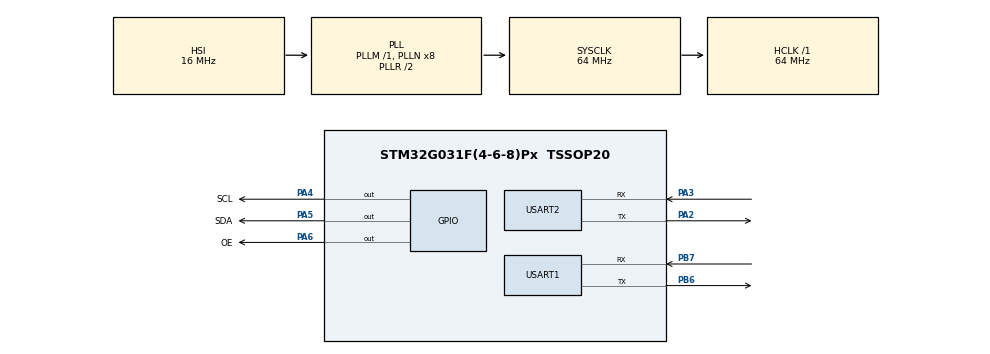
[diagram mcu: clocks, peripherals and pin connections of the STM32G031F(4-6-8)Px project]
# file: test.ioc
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Mcu.Family=STM32G0
Mcu.Name=STM32G031F(4-6-8)Px
Mcu.Package=TSSOP20
PA13.Mode=Serial_Wire
PA13.Signal=SYS_SWDIO
PA14-BOOT0.Mode=Serial_Wire
PA14-BOOT0.Signal=SYS_SWCLK
PA14-BOOT0__PA15.StandardMode=true
PA2.Mode=Asynchronous
PA2.Signal=USART2_TX
PA3.Mode=Asynchronous
PA3.Signal=USART2_RX
PA4.GPIO_Label=SCL
PA4.GPIO_ModeDefaultOutputPP=GPIO_MODE_OUTPUT_OD
PA4.GPIO_PuPd=GPIO_NOPULL
PA4.GPIO_Speed=GPIO_SPEED_FREQ_VERY_HIGH
PA4.PinState=GPIO_PIN_SET
PA4.Signal=GPIO_Output
PA5.GPIO_Label=SDA
PA5.GPIO_ModeDefaultOutputPP=GPIO_MODE_OUTPUT_OD
PA5.GPIO_PuPd=GPIO_NOPULL
PA5.GPIO_Speed=GPIO_SPEED_FREQ_VERY_HIGH
PA5.PinState=GPIO_PIN_SET
PA5.Signal=GPIO_Output
PA6.GPIO_Label=OE
PA6.GPIO_ModeDefaultOutputPP=GPIO_MODE_OUTPUT_OD
PA6.GPIO_PuPd=GPIO_NOPULL
PA6.Signal=GPIO_Output
PB0__PB1__PB2__PA8.StandardMode=true
PB3__PB4__PB5__PB6.StandardMode=true
PB6.Mode=Asynchronous
PB6.Signal=USART1_TX
PB7.Mode=Asynchronous
PB7.Signal=USART1_RX
PB7__PB8.StandardMode=true
PC14-OSC32_IN\ (PC14)__PB9.StandardMode=true
ProjectManager.HeapSize=0x200
ProjectManager.StackSize=0x400
ProjectManager.TargetToolchain=CMake
RCC.ADCFreq_Value=64000000
RCC.AHBFreq_Value=64000000
RCC.CortexFreq_Value=64000000
RCC.EXTERNAL_CLOCK_VALUE=12288000
RCC.HCLKFreq_Value=64000000
RCC.HSE_VALUE=8000000
RCC.HSI_VALUE=16000000
RCC.LSE_VALUE=32768
RCC.SYSCLKFreq_VALUE=64000000
RCC.SYSCLKSource=RCC_SYSCLKSOURCE_PLLCLK
RCC.VCOOutputFreq_Value=128000000
RealThread.RT-Thread.3.1.5.RT_USING_OVERFLOW_CHECK=1
RealThread.X-CUBE-RT-Thread_Nano.4.1.1.RT_CONSOLEBUF_SIZE=512
RealThread.X-CUBE-RT-Thread_Nano.4.1.1.RT_USING_FINSH=1
RealThread.X-CUBE-RT-Thread_Nano.4.1.1.RT_USING_OVERFLOW_CHECK=1
RealThread.X-CUBE-RT-Thread_Nano.4.1.1.RT_USING_SMALL_MEM=1
USART1.VirtualMode-Asynchronous=VM_ASYNC
USART2.VirtualMode-Asynchronous=VM_ASYNC
board=custom

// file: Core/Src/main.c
/* USER CODE BEGIN Header */
/**
  ******************************************************************************
  * @file           : main.c
  * @brief          : Main program body
  ******************************************************************************
  * @attention
  *
  * Copyright (c) 2025 STMicroelectronics.
  * All rights reserved.
  *
  * This software is licensed under terms that can be found in the LICENSE file
  * in the root directory of this software component.
  * If no LICENSE file comes with this software, it is provided AS-IS.
  *
  ******************************************************************************
  */
/* USER CODE END Header */
#include "main.h"
#include "usart.h"
#include "gpio.h"

/* USER CODE BEGIN Includes */
#include <stdio.h>
#include "pca9685.h"
#include "droplet_control.h"
/* USER CODE END Includes */

/* USER CODE BEGIN PV */
soft_i2c_bus_t pca9685_bus = {
  .scl_port = SCL_GPIO_Port,
  .scl_pin = SCL_Pin,
  .sda_port = SDA_GPIO_Port,
  .sda_pin = SDA_Pin,
  .delay_cycles = 64u
};

pca9685_handle_t pca9685 = {
  .i2c_bus = &pca9685_bus,
  .device_address = (uint16_t)(PCA9865_I2C_DEFAULT_DEVICE_ADDRESS << 1),
  .inverted = false
};
/* USER CODE END PV */

void SystemClock_Config(void);

int main(void)
{

  /* MCU Configuration--------------------------------------------------------*/

  /* Reset of all peripherals, Initializes the Flash interface and the Systick. */
  HAL_Init();

  /* Configure the system clock */
  SystemClock_Config();

  /* Initialize all configured peripherals */
  MX_GPIO_Init();
  MX_USART1_UART_Init();
  MX_USART2_UART_Init();
  /* USER CODE BEGIN 2 */
  printf("USART1 printf test\r\n");
  printf("Initializing PCA9685...\r\n");

  if (!pca9685_init(&pca9685)) {
    printf("PCA9685 init failed");
    Error_Handler();
  }else {
    printf("PCA9685 initialized successfully\r\n");
  }

  if (!pca9685_set_pwm_frequency(&pca9685, 1000.0f)) {
    printf("Failed to set PCA9685 frequency");
    Error_Handler();
  }else {
    printf("PCA9685 frequency set to 1000Hz\r\n");
  }

  // test_all_magnets_on();
  /* USER CODE END 2 */

  /* Infinite loop */
  while (1)
  {

    /* USER CODE BEGIN 3 */
    droplet_rotate_clockwise();
  }
  /* USER CODE END 3 */
}

void SystemClock_Config(void)
{
  RCC_OscInitTypeDef RCC_OscInitStruct = {0};
  RCC_ClkInitTypeDef RCC_ClkInitStruct = {0};

  /** Configure the main internal regulator output voltage
  */
  HAL_PWREx_ControlVoltageScaling(PWR_REGULATOR_VOLTAGE_SCALE1);

  /** Initializes the RCC Oscillators according to the specified parameters
  * in the RCC_OscInitTypeDef structure.
  */
  RCC_OscInitStruct.OscillatorType = RCC_OSCILLATORTYPE_HSI;
  RCC_OscInitStruct.HSIState = RCC_HSI_ON;
  RCC_OscInitStruct.HSIDiv = RCC_HSI_DIV1;
  RCC_OscInitStruct.HSICalibrationValue = RCC_HSICALIBRATION_DEFAULT;
  RCC_OscInitStruct.PLL.PLLState = RCC_PLL_ON;
  RCC_OscInitStruct.PLL.PLLSource = RCC_PLLSOURCE_HSI;
  RCC_OscInitStruct.PLL.PLLM = RCC_PLLM_DIV1;
  RCC_OscInitStruct.PLL.PLLN = 8;
  RCC_OscInitStruct.PLL.PLLP = RCC_PLLP_DIV2;
  RCC_OscInitStruct.PLL.PLLQ = RCC_PLLQ_DIV2;
  RCC_OscInitStruct.PLL.PLLR = RCC_PLLR_DIV2;
  if (HAL_RCC_OscConfig(&RCC_OscInitStruct) != HAL_OK)
  {
    Error_Handler();
  }

  /** Initializes the CPU, AHB and APB buses clocks
  */
  RCC_ClkInitStruct.ClockType = RCC_CLOCKTYPE_HCLK|RCC_CLOCKTYPE_SYSCLK
                              |RCC_CLOCKTYPE_PCLK1;
  RCC_ClkInitStruct.SYSCLKSource = RCC_SYSCLKSOURCE_PLLCLK;
  RCC_ClkInitStruct.AHBCLKDivider = RCC_SYSCLK_DIV1;
  RCC_ClkInitStruct.APB1CLKDivider = RCC_HCLK_DIV1;

  if (HAL_RCC_ClockConfig(&RCC_ClkInitStruct, FLASH_LATENCY_2) != HAL_OK)
  {
    Error_Handler();
  }
}

void Error_Handler(void)
{
  __disable_irq();
  while (1)
  {
  }
}
